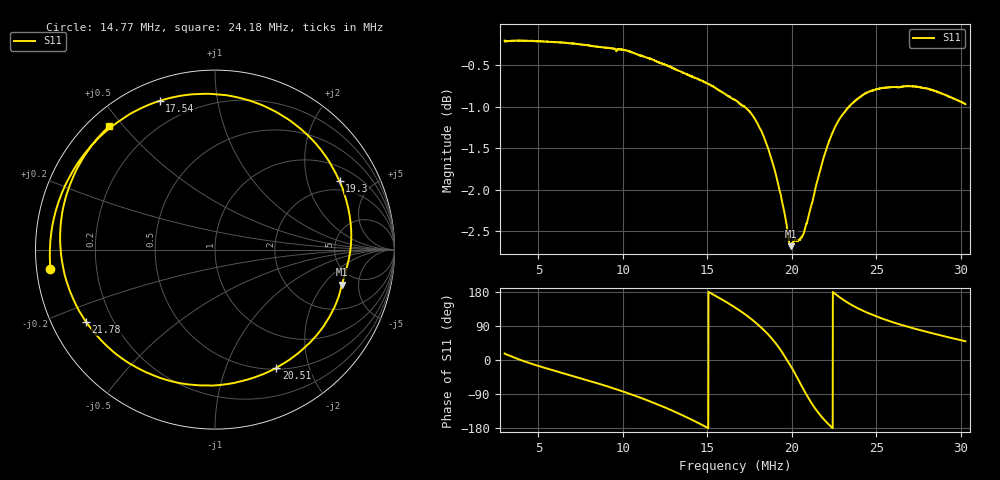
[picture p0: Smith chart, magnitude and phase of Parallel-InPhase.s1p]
# HZ S RI R 50
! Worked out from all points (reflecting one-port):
!   2727 points, 3 MHz to 30.27 MHz, reference 50 ohm
!   lowest |S11| = -2.7 dB at 19.93 MHz (marker M1), VSWR 6.53, Z = 187 - j158 ohm
!   phase of S11 starts at 17 deg and turns -688 deg over the sweep
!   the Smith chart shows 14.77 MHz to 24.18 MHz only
!   S11 on the Smith chart (normalised r, x): 14.77 MHz: 0.04, -0.06; 17.54 MHz: 0.09, +0.69; 19.3 MHz: 1.56, +3.19; 20.51 MHz: 0.52, -1.52; 21.78 MHz: 0.10, -0.26; 24.18 MHz: 0.06, +0.46
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3000000  0.9342 0.2859
4530612  0.9646 -0.1525
6411364  0.8054 -0.5482
8222088  0.5165 -0.8203
9822728  0.162 -0.9515
1.158343e7  -0.3072 -0.9023
1.323409e7  -0.7161 -0.605
1.477471e7  -0.9166 -0.1067
1.572509e7  -0.8734 0.2611
1.663545e7  -0.675 0.5948
1.753581e7  -0.3076 0.8294
1.804602e7  -0.0205 0.8674
1.84962e7  0.2583 0.8065
1.889636e7  0.5025 0.6506
1.929652e7  0.6939 0.3812
1.960664e7  0.7591 0.0972
1.992677e7  0.708 -0.1952
2.004682e7  0.6728 -0.3039
2.0507e7  0.341 -0.6597
2.105722e7  -0.2139 -0.7405
2.141736e7  -0.5169 -0.6074
2.177751e7  -0.7179 -0.4029
2.248779e7  -0.8625 0.0397
2.345818e7  -0.7513 0.4825
2.417847e7  -0.5887 0.6885
2.538895e7  -0.2915 0.8672
2.686954e7  0.0377 0.9164
3.02709e7  0.5818 0.6793
